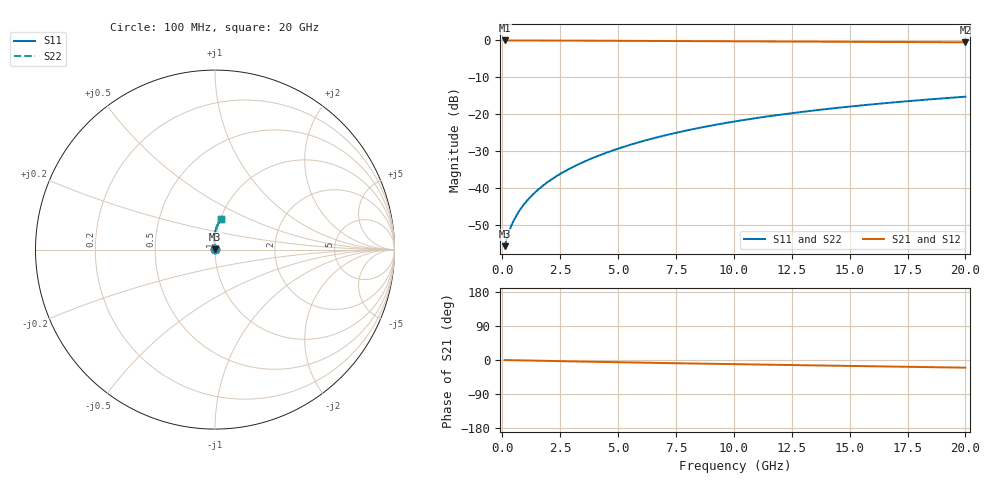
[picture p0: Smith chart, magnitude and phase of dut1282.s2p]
! Touchstone file exported from HFSS 2024.1.0
!  File:  C:/UserFiles/LocalFiles/RDL_TSV_Batchsim/temp_RDL_bottom_1282_1780246709.aedt
!  Generated:  01:00:52 AM Jun  1, 2026
!  Design:  RDL_bottom
!  Project:  temp_RDL_bottom_1282_1780246709
!  Setup:  Setup1
!  Solution:  Sweep
! Variables:
!  dtsv = 10.80580581um
!  hbump = 3um
!  htsv = 59.83um
!  ldown = 294.77um
!  lrdl = 100um
!  p = 40
!  p1 = 46.89um
!  rhole = 1um
!  t = 450um
!  tdown = 3.16um
!  trdl = 3.915915916um
!  wdown = 28.72um
!  wrdl = 20um
# GHz S MA R 50.000000
! Terminal data exported
! Port[1] = RDL1_T1
! Port[2] = RDL1_T2
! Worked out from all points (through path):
!   200 points, 100 MHz to 20 GHz, reference 50 ohm
!   highest |S21| = -0.01 dB at 100 MHz (marker M1); lowest = -0.5 dB at 20 GHz (marker M2)
!   group delay of S21, straight-line fit = 2.76 ps
!   lowest |S11| = -55.8 dB at 100 MHz (marker M3), VSWR 1.00, Z = 50.1 + j0.0739 ohm
!   |S11| at or under -10 dB: start of sweep to end of sweep
!   |S22| runs from -55.8 to -15.3 dB; largest |S21 - S12| = 4.3e-15
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0.1  0.001618 27.1  0.9986 -0.1  0.9986 -0.1  0.001618 27.1
! Gamma 0 0 0 0
! Port Impedance 50 0 50 0
0.2  0.002085 42.9  0.9984 -0.3  0.9984 -0.3  0.002085 42.9
0.3  0.002605 51.7  0.9983 -0.4  0.9983 -0.4  0.002605 51.7
0.4  0.003122 57.5  0.9982 -0.5  0.9982 -0.5  0.003122 57.5
0.5  0.003637 62.0  0.9981 -0.6  0.9981 -0.6  0.003637 62.0
0.6  0.004155 65.5  0.998 -0.8  0.998 -0.8  0.004155 65.5
0.8  0.005214 71.0  0.9978 -1.0  0.9978 -1.0  0.005214 71.0
1.2  0.007436 78.2  0.9973 -1.5  0.9973 -1.5  0.007436 78.2
1.7  0.01038 83.6  0.9966 -2.1  0.9966 -2.1  0.01038 83.6
2.2  0.0135 87.2  0.9956 -2.7  0.9956 -2.7  0.0135 87.2
2.8  0.01746 90.0  0.9942 -3.4  0.9942 -3.4  0.01746 90.0
3.5  0.02238 92.3  0.9924 -4.2  0.9924 -4.2  0.02238 92.3
4.2  0.02764 93.7  0.9902 -5.0  0.9902 -5.0  0.02763 93.7
5  0.03401 94.6  0.9876 -5.9  0.9876 -5.9  0.034 94.6
5.9  0.04157 94.9  0.9845 -6.9  0.9845 -6.9  0.04157 94.9
6.8  0.04948 94.7  0.9814 -7.8  0.9814 -7.8  0.04947 94.7
8.4  0.06412 93.6  0.9759 -9.4  0.9759 -9.4  0.06411 93.6
10.1  0.08014 91.8  0.9704 -11.1  0.9704 -11.1  0.08013 91.8
11.7  0.09537 89.9  0.9655 -12.6  0.9655 -12.6  0.09536 89.9
13.4  0.1115 87.7  0.9605 -14.2  0.9605 -14.2  0.1115 87.7
16.7  0.1424 83.5  0.9515 -17.2  0.9515 -17.2  0.1424 83.5
20  0.1724 79.4  0.9429 -20.2  0.9429 -20.2  0.1724 79.4
